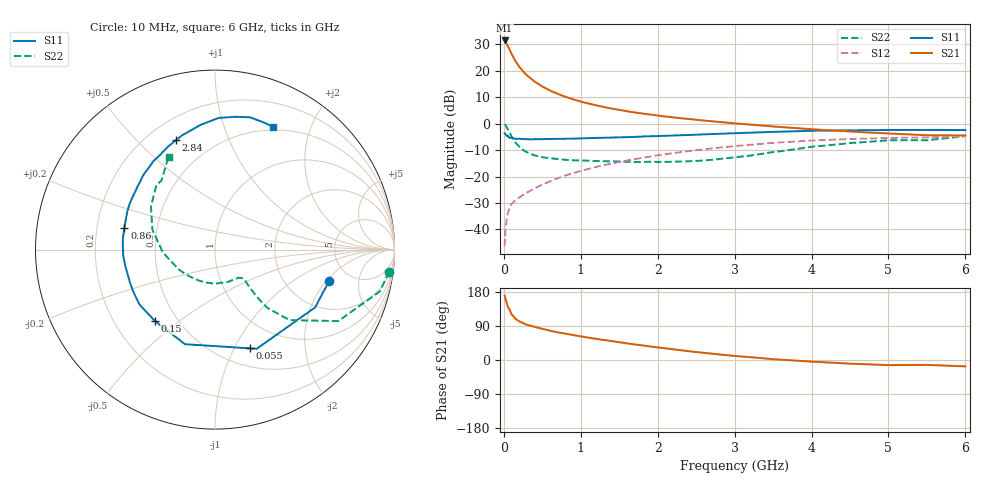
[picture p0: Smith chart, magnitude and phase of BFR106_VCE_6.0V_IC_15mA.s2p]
! Infineon Technologies  Discrete & RF Semiconductors
! BFR106
! VCE =  6.0 V,  IC =  15 mA
! Common Emitter S-Parameters:  Nov 2015
# GHz  S  MA  R  50
!  f  S11  S21  S12  S22
! GHz  MAG  ANG  MAG  ANG  MAG  ANG  MAG  ANG
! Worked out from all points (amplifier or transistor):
!   210 points, 10 MHz to 6 GHz, reference 50 ohm
!   highest |S21| = 31.5 dB at 10 MHz (marker M1)
!   |S21| within 3 dB of that: start of sweep to 66.45 MHz
!   unconditionally stable (mu >= 1): 419.3 MHz to 2.05 GHz
!   at 185 MHz: K = 0.68, MSG = 25.2 dB, |S12| = -28.2 dB
!   at 1.52 GHz: K = 1.06, MAG = 8.2 dB, |S12| = -14.4 dB
!   at 6 GHz: K = 1.00, MSG = 0.1 dB, |S12| = -4.7 dB
!   S11 on the Smith chart (normalised r, x): 10 MHz: 3.45, -2.15; 55 MHz: 0.69, -1.15; 150 MHz: 0.38, -0.41; 860 MHz: 0.32, +0.11; 2.84 GHz: 0.31, +0.66; 6 GHz: 0.46, +1.47
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0.01  0.6592 -15.5  37.63 170.0  0.0048 82.7  0.9772 -7.2
0.02  0.6442 -30.0  36.26 162.1  0.0095 80.2  0.948 -14.2
0.05  0.5995 -67.2  29.92 140.9  0.0199 64.0  0.7941 -30.1
0.055  0.5828 -70.7  28.9 139.5  0.0209 62.5  0.7706 -31.1
0.1  0.553 -107.6  20.91 120.6  0.0301 53.8  0.573 -43.3
0.15  0.5198 -130.1  15.28 108.7  0.0356 51.0  0.44 -48.0
0.2  0.5201 -143.7  11.99 101.9  0.04 52.7  0.367 -48.4
0.24  0.5129 -151.1  10.18 97.8  0.0438 53.7  0.3265 -48.1
0.3  0.5077 -159.4  8.211 92.9  0.0496 56.6  0.2886 -47.6
0.4  0.508 -169.6  6.272 87.0  0.0594 59.5  0.2504 -46.2
0.5  0.5127 -176.6  5.042 81.9  0.07 62.0  0.2314 -45.3
0.6  0.5144 177.4  4.242 77.3  0.081 63.5  0.2218 -46.1
0.7  0.5173 172.7  3.67 73.0  0.0926 64.5  0.2137 -47.7
0.86  0.5196 166.4  3.02 67.4  0.1112 65.0  0.2041 -50.3
1.02  0.5271 159.7  2.573 61.7  0.13 64.8  0.2009 -54.4
1.4  0.545 147.4  1.931 50.0  0.176 63.0  0.1943 -67.3
2.02  0.5842 129.8  1.412 32.6  0.2539 56.8  0.1887 -96.2
2.84  0.6472 109.7  1.064 13.8  0.3567 45.9  0.2172 -143.2
3.1  0.6674 104.3  0.988 9.1  0.3871 41.9  0.2381 -157.5
4.1  0.7359 86.9  0.769 -5.3  0.4854 25.8  0.3758 158.7
5.1  0.761 74.0  0.642 -13.4  0.5398 11.2  0.485 131.5
6  0.7572 64.9  0.599 -16.8  0.585 0.3  0.5792 116.5
